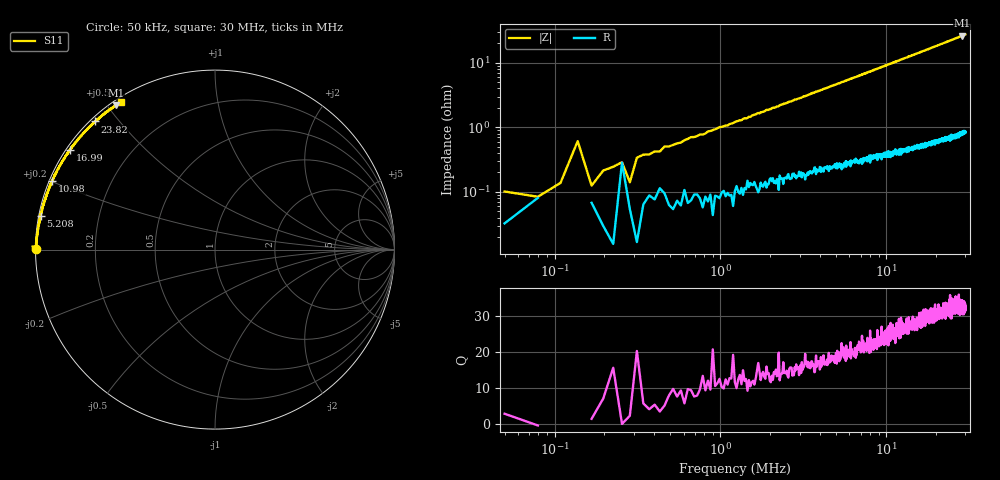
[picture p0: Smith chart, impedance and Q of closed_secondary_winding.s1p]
# HZ S RI R 50
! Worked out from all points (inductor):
!   1023 points, 50 kHz to 30 MHz, reference 50 ohm
!   read as one part to ground: L = 172 nH near 196.5 kHz
!   highest Q = 33.2 at 28.77 MHz (marker M1), where L = 145 nH
!   S11 on the Smith chart (normalised r, x): 50 kHz: 0.00, +0.00; 5.208 MHz: 0.01, +0.10; 10.98 MHz: 0.01, +0.20; 16.99 MHz: 0.01, +0.31; 23.82 MHz: 0.01, +0.43; 30 MHz: 0.02, +0.55
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50000  -0.9987 0.00383
137915  -1.017 0.0177
255135  -0.9887 0.00157
313745  -0.9992 0.0135
606795  -0.9954 0.0248
1749690  -0.9921 0.0678
3801040  -0.9809 0.1416
5207680  -0.9709 0.189
7552080  -0.9503 0.2676
8870805  -0.9368 0.3132
1.027744e7  -0.9182 0.3596
1.098076e7  -0.9079 0.3815
1.130312e7  -0.9047 0.3898
1.285628e7  -0.8811 0.4378
1.502486e7  -0.8441 0.5022
1.698829e7  -0.8092 0.5557
1.775022e7  -0.7961 0.5727
1.839493e7  -0.7818 0.5907
1.87759e7  -0.7737 0.6007
2.05342e7  -0.739 0.6413
2.252694e7  -0.6961 0.6858
2.381636e7  -0.6673 0.7138
2.425593e7  -0.6581 0.7255
2.492994e7  -0.6407 0.7356
2.627798e7  -0.6103 0.7625
2.87689e7  -0.5531 0.8031
2.967736e7  -0.53 0.8174
2.999971e7  -0.5226 0.8229
